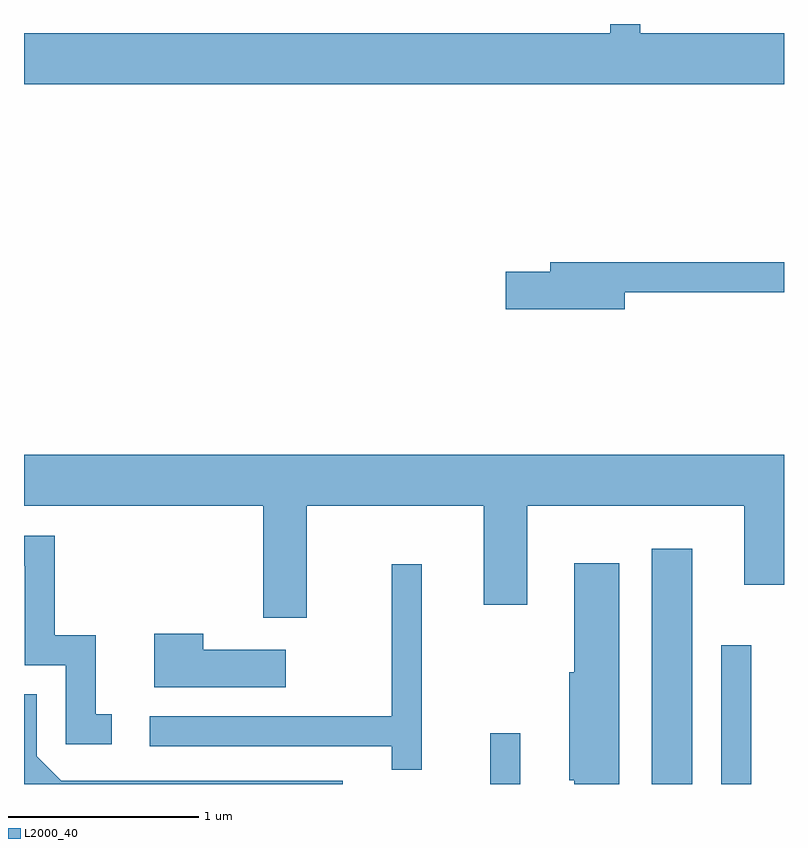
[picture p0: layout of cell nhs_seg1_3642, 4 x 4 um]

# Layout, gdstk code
import gdstk
lib = gdstk.Library(unit=1e-6, precision=1e-09)
def R(c, l, rs):  # rectangles x0, y0, x1, y1
    for r in rs: c.add(gdstk.rectangle(r[:2], r[2:], *l))
def P(c, l, *ps):  # polygons
    for p in ps: c.add(gdstk.Polygon(p, *l))
L2000_40 = (2000, 40)

nhs_seg1_3642 = lib.new_cell('nhs_seg1_3642')
R(nhs_seg1_3642, L2000_40, [(298.066,853.712,298.224,853.978), (298.916,853.712,299.129,854.949), (299.281,853.712,299.439,854.443)])
P(nhs_seg1_3642, L2000_40, [(299.611,857.664),(298.854,857.664),(298.854,857.712),(298.696,857.712),(298.696,857.664),(295.611,857.664),(295.611,857.396),(299.611,857.396)],
  [(298.774,856.301),(299.611,856.301),(299.611,856.459),(298.381,856.459),(298.381,856.409),(298.146,856.409),(298.146,856.211),(298.774,856.211)],
  [(297.099,855.176),(298.031,855.176),(298.031,854.656),(298.259,854.656),(298.259,855.176),(299.401,855.176),(299.401,854.761),(299.611,854.761),(299.611,855.444),(295.611,855.444),(295.611,855.176),(296.871,855.176),(296.871,854.586),(297.099,854.586)],
  [(296.073,854.079),(295.989,854.079),(295.989,854.494),(295.774,854.494),(295.774,855.019),(295.611,855.019),(295.611,854.861),(295.616,854.861),(295.616,854.336),(295.831,854.336),(295.831,853.921),(296.073,853.921)],
  [(298.744,854.874),(298.506,854.874),(298.506,854.299),(298.481,854.299),(298.481,853.731),(298.506,853.731),(298.506,853.712),(298.744,853.712)],
  [(297.704,854.868),(297.546,854.868),(297.546,854.069),(296.273,854.069),(296.273,853.911),(297.546,853.911),(297.546,853.788),(297.704,853.788)],
  [(296.989,854.419),(296.554,854.419),(296.554,854.504),(296.296,854.504),(296.296,854.221),(296.989,854.221)],
  [(297.289,853.729),(295.807,853.729),(295.679,853.857),(295.679,854.184),(295.611,854.184),(295.611,853.712),(297.289,853.712)])

lib.write_gds('nhs_seg1_3642.gds')
